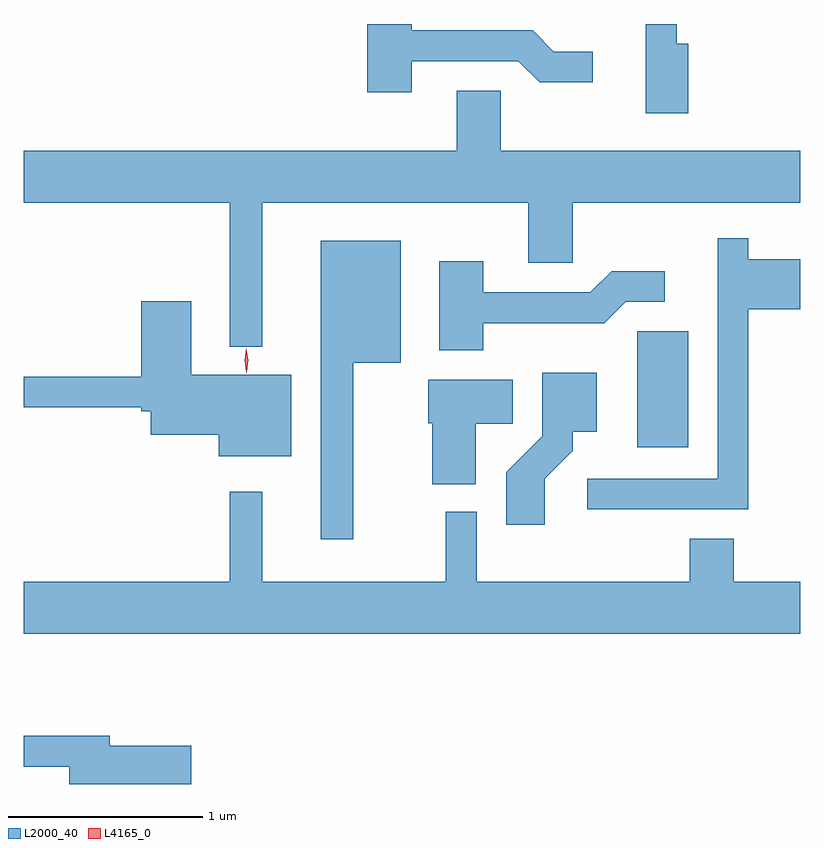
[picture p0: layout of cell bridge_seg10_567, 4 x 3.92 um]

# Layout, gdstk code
import gdstk
lib = gdstk.Library(unit=1e-6, precision=1e-09)
def R(c, l, rs):  # rectangles x0, y0, x1, y1
    for r in rs: c.add(gdstk.rectangle(r[:2], r[2:], *l))
def P(c, l, *ps):  # polygons
    for p in ps: c.add(gdstk.Polygon(p, *l))
L2000_40 = (2000, 40)
L4165_0 = (4165, 0)

bridge_seg10_567 = lib.new_cell('bridge_seg10_567')
R(bridge_seg10_567, L2000_40, [(672.921,2170.376,673.184,2170.974)])
P(bridge_seg10_567, L2000_40, [(673.184,2172.454),(673.124,2172.454),(673.124,2172.557),(672.966,2172.557),(672.966,2172.096),(673.184,2172.096)],
  [(671.759,2172.366),(672.309,2172.366),(672.419,2172.256),(672.693,2172.256),(672.693,2172.414),(672.492,2172.414),(672.382,2172.524),(671.759,2172.524),(671.759,2172.557),(671.531,2172.557),(671.531,2172.206),(671.759,2172.206)],
  [(670.989,2171.636),(672.361,2171.636),(672.361,2171.326),(672.589,2171.326),(672.589,2171.636),(673.761,2171.636),(673.761,2171.904),(672.219,2171.904),(672.219,2172.214),(671.991,2172.214),(671.991,2171.904),(669.761,2171.904),(669.761,2171.636),(670.821,2171.636),(670.821,2170.893),(670.989,2170.893)],
  [(673.494,2171.086),(673.761,2171.086),(673.761,2171.344),(673.494,2171.344),(673.494,2171.453),(673.336,2171.453),(673.336,2170.214),(672.663,2170.214),(672.663,2170.056),(673.494,2170.056)],
  [(671.459,2170.811),(671.704,2170.811),(671.704,2171.439),(671.291,2171.439),(671.291,2169.903),(671.459,2169.903)],
  [(672.129,2171.016),(672.752,2171.016),(672.862,2171.126),(673.063,2171.126),(673.063,2171.284),(672.789,2171.284),(672.679,2171.174),(672.129,2171.174),(672.129,2171.334),(671.901,2171.334),(671.901,2170.876),(672.129,2170.876)],
  [(671.139,2170.749),(670.624,2170.749),(670.624,2171.129),(670.366,2171.129),(670.366,2170.739),(669.761,2170.739),(669.761,2170.581),(670.366,2170.581),(670.366,2170.561),(670.416,2170.561),(670.416,2170.441),(670.766,2170.441),(670.766,2170.331),(671.139,2170.331)],
  [(672.444,2170.214),(672.589,2170.359),(672.589,2170.456),(672.714,2170.456),(672.714,2170.759),(672.431,2170.759),(672.431,2170.432),(672.246,2170.247),(672.246,2169.976),(672.444,2169.976)],
  [(672.089,2170.496),(672.279,2170.496),(672.279,2170.724),(671.846,2170.724),(671.846,2170.501),(671.866,2170.501),(671.866,2170.186),(672.089,2170.186)],
  [(673.761,2169.684),(673.419,2169.684),(673.419,2169.904),(673.191,2169.904),(673.191,2169.684),(672.094,2169.684),(672.094,2170.043),(671.936,2170.043),(671.936,2169.684),(670.989,2169.684),(670.989,2170.148),(670.821,2170.148),(670.821,2169.684),(669.761,2169.684),(669.761,2169.416),(673.761,2169.416)],
  [(670.624,2168.839),(670.204,2168.839),(670.204,2168.889),(669.761,2168.889),(669.761,2168.731),(669.996,2168.731),(669.996,2168.641),(670.624,2168.641)])
P(bridge_seg10_567, L4165_0, [(670.908,2170.761),(670.908,2170.762),(670.898,2170.824),(670.907,2170.887),(670.908,2170.887),(670.908,2170.887),(670.918,2170.824),(670.909,2170.762)])

lib.write_gds('bridge_seg10_567.gds')
